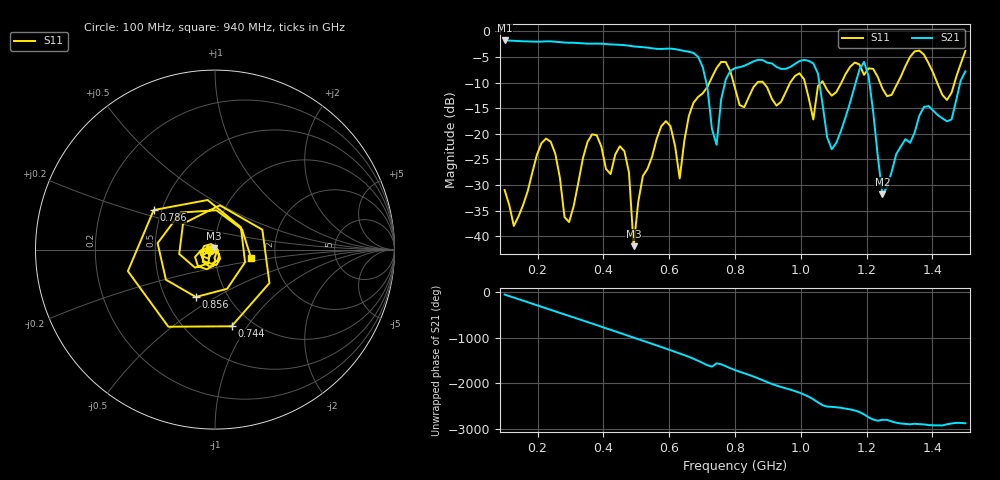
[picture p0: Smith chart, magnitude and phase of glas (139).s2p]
! NanoVNA-App
! Date: 2025-09-25 15:56:33
! Start: 100MHz Stop: 1,5GHz Points: 101
! S-Parameter data: F S11 S21 S12 S22
# Hz S RI R 50
!  Frequency  S11_Real  S11_Imag  S21_Real  S21_Imag  S12_Real  S12_Imag  S22_Real  S22_Imag
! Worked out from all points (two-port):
!   101 points, 100 MHz to 1.5 GHz, reference 50 ohm
!   highest |S21| = -1.80 dB at 100 MHz (marker M1); lowest = -31.8 dB at 1.248 GHz (marker M2)
!   |S21| within 3 dB of the highest: start of sweep to 684.3 MHz
!   lowest |S11| = -41.9 dB at 492 MHz (marker M3), VSWR 1.02, Z = 49.5 + j0.607 ohm
!   |S11| at or under -10 dB: start of sweep to 722.4 MHz; 795.4 MHz to 868.3 MHz (72.91 MHz wide, 8.76 % of centre); 885.8 MHz to 967.8 MHz (81.98 MHz wide, 8.84 % of centre) (the widest 3 of 7)
!   S12 and S22 are empty: the file has one direction only
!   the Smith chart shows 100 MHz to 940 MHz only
!   S11 on the Smith chart (normalised r, x): 100 MHz: 0.95, -0.01; 744 MHz: 0.80, -0.85; 786 MHz: 0.45, +0.24; 856 MHz: 0.71, -0.41; 940 MHz: 1.49, -0.14
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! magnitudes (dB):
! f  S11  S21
! 100 MHz  -31.0  -1.8
! 128 MHz  -37.9  -1.9
! 226 MHz  -20.9  -2.0
! 296 MHz  -37.2  -2.2
! 338 MHz  -24.7  -2.4
! 464 MHz  -23.4  -2.7
! 492 MHz  -41.9  -3.0
! 576 MHz  -18.5  -3.5
! 632 MHz  -28.7  -3.7
! 702 MHz  -12.1  -7.0
! 744 MHz  -7.2  -22.1
! 786 MHz  -7.8  -7.7
! 800 MHz  -11.1  -7.2
! 856 MHz  -10.9  -5.9
! 940 MHz  -13.8  -7.3
! 996 MHz  -8.2  -5.8
! 1.038 GHz  -17.2  -6.3
! 1.094 GHz  -12.6  -23.0
! 1.192 GHz  -8.5  -6.0
! 1.248 GHz  -11.2  -31.8
! 1.276 GHz  -12.4  -27.4
! 1.5 GHz  -3.8  -7.8
